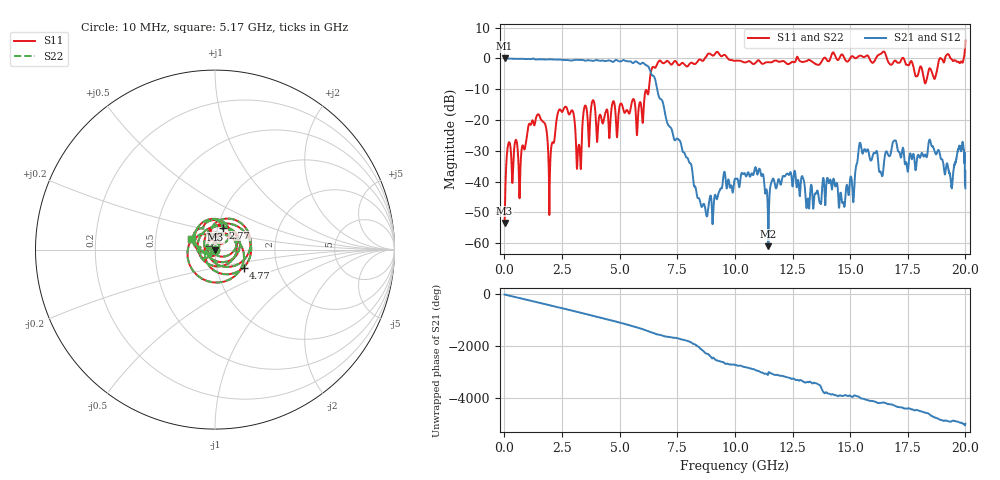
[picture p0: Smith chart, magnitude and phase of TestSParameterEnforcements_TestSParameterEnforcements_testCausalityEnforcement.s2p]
# MHz MA S R 50.0
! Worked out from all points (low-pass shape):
!   2000 points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, 10 MHz to 20 GHz, reference 50 ohm
!   highest |S21| = 0.00 dB at 10 MHz (marker M1); lowest = -61.0 dB at 11.45 GHz (marker M2)
!   |S21| within 3 dB of the highest: start of sweep to 6.272 GHz
!   lowest |S11| = -53.5 dB at 10 MHz (marker M3), VSWR 1.00, Z = 50.2 + j0.0554 ohm
!   |S11| at or under -10 dB: start of sweep to 6.268 GHz
!   |S22| runs from -53.5 to 5.8 dB; largest |S21 - S12| = 0
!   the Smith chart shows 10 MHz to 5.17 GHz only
!   S11 on the Smith chart (normalised r, x): 10 MHz: 1.00, +0.00; 2.77 GHz: 1.06, +0.26; 4.77 GHz: 1.35, -0.28; 5.17 GHz: 0.76, +0.09
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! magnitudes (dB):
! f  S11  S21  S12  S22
! 10 MHz  -53.5  0.0  0.0  -53.5
! 190 MHz  -27.4  -0.1  -0.1  -27.4
! 690 MHz  -36.9  -0.2  -0.2  -36.9
! 1.48 GHz  -18.2  -0.3  -0.3  -18.2
! 1.99 GHz  -33.8  -0.3  -0.3  -33.8
! 2.35 GHz  -17.1  -0.4  -0.4  -17.1
! 2.77 GHz  -17.7  -0.5  -0.5  -17.7
! 3.35 GHz  -28.1  -0.5  -0.5  -28.1
! 3.5 GHz  -15.3  -0.8  -0.8  -15.3
! 4.77 GHz  -14.5  -0.9  -0.9  -14.5
! 5.17 GHz  -16.9  -0.5  -0.5  -16.9
! 5.79 GHz  -19.9  -1.4  -1.4  -19.9
! 6.68 GHz  -1.1  -11.8  -11.8  -1.1
! 8.73 GHz  0.3  -49.4  -49.4  0.3
! 10.01 GHz  -0.8  -39.1  -39.1  -0.8
! 11.45 GHz  -1.3  -61.0  -61.0  -1.3
! 13.34 GHz  -1.0  -42.1  -42.1  -1.0
! 16.67 GHz  -1.4  -31.6  -31.6  -1.4
! 18.5 GHz  -3.6  -27.6  -27.6  -3.6
! 19.38 GHz  -0.1  -40.4  -40.4  -0.1
! 19.82 GHz  -1.0  -29.8  -29.8  -1.0
! 20 GHz  5.8  -42.2  -42.2  5.8
